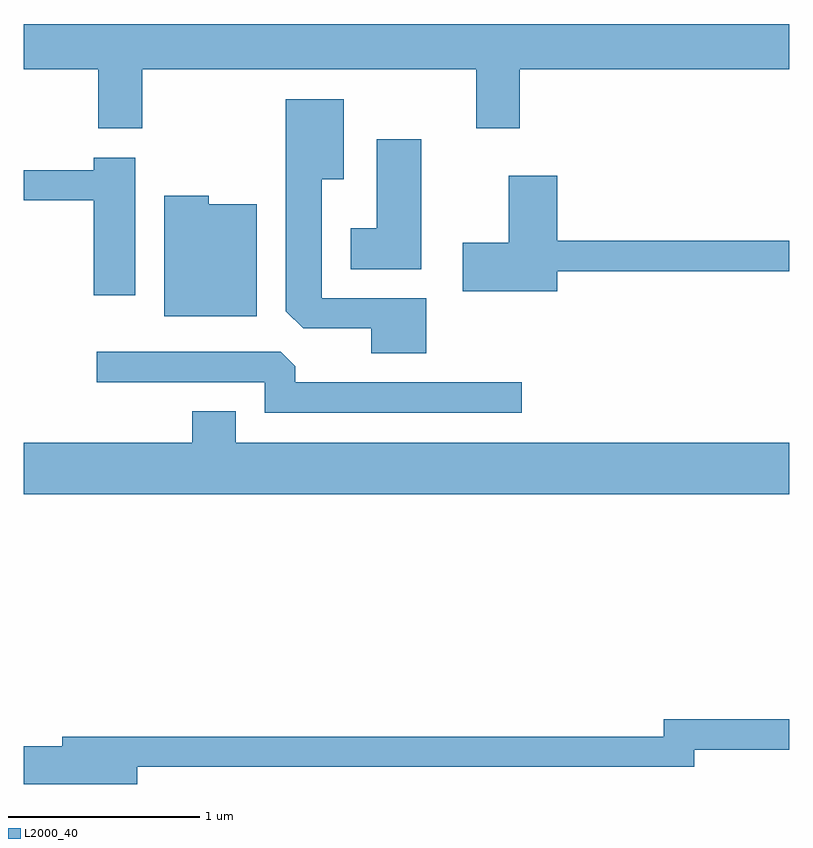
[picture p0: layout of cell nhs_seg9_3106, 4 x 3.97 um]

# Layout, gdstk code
import gdstk
lib = gdstk.Library(unit=1e-6, precision=1e-09)
def P(c, l, *ps):  # polygons
    for p in ps: c.add(gdstk.Polygon(p, *l))
L2000_40 = (2000, 40)

nhs_seg9_3106 = lib.new_cell('nhs_seg9_3106')
P(nhs_seg9_3106, L2000_40, [(276.229,2056.196),(277.976,2056.196),(277.976,2055.886),(278.204,2055.886),(278.204,2056.196),(279.611,2056.196),(279.611,2056.432),(275.611,2056.432),(275.611,2056.196),(276.001,2056.196),(276.001,2055.886),(276.229,2055.886)],
  [(277.714,2054.999),(277.169,2054.999),(277.169,2055.621),(277.284,2055.621),(277.284,2056.039),(276.981,2056.039),(276.981,2054.932),(277.072,2054.841),(277.426,2054.841),(277.426,2054.711),(277.714,2054.711)],
  [(277.689,2055.829),(277.456,2055.829),(277.456,2055.364),(277.321,2055.364),(277.321,2055.151),(277.689,2055.151)],
  [(276.194,2055.734),(275.976,2055.734),(275.976,2055.669),(275.611,2055.669),(275.611,2055.511),(275.976,2055.511),(275.976,2055.016),(276.194,2055.016)],
  [(278.399,2055.141),(279.611,2055.141),(279.611,2055.299),(278.399,2055.299),(278.399,2055.639),(278.146,2055.639),(278.146,2055.289),(277.906,2055.289),(277.906,2055.036),(278.399,2055.036)],
  [(276.829,2055.489),(276.579,2055.489),(276.579,2055.534),(276.346,2055.534),(276.346,2054.906),(276.829,2054.906)],
  [(278.213,2054.559),(277.029,2054.559),(277.029,2054.644),(276.954,2054.719),(275.993,2054.719),(275.993,2054.561),(276.871,2054.561),(276.871,2054.401),(278.213,2054.401)],
  [(276.491,2054.409),(276.491,2054.244),(275.611,2054.244),(275.611,2053.976),(279.611,2053.976),(279.611,2054.244),(276.719,2054.244),(276.719,2054.409)],
  [(276.204,2052.551),(279.114,2052.551),(279.114,2052.641),(279.611,2052.641),(279.611,2052.799),(278.956,2052.799),(278.956,2052.709),(275.811,2052.709),(275.811,2052.659),(275.611,2052.659),(275.611,2052.461),(276.204,2052.461)])

lib.write_gds('nhs_seg9_3106.gds')
